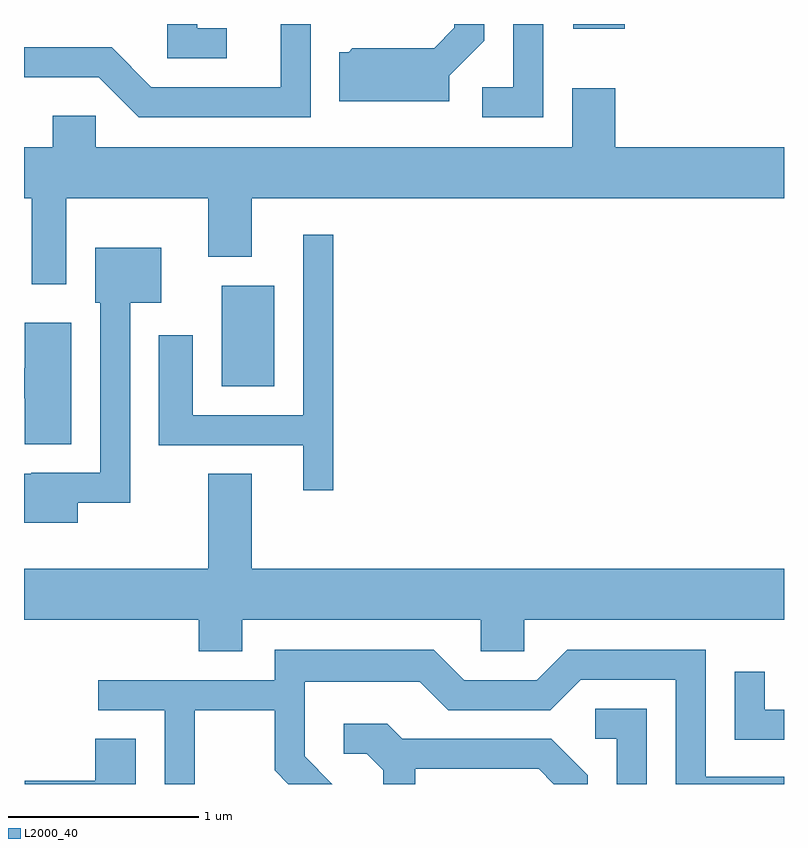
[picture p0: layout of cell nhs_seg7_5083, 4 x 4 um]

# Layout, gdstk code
import gdstk
lib = gdstk.Library(unit=1e-6, precision=1e-09)
def R(c, l, rs):  # rectangles x0, y0, x1, y1
    for r in rs: c.add(gdstk.rectangle(r[:2], r[2:], *l))
def P(c, l, *ps):  # polygons
    for p in ps: c.add(gdstk.Polygon(p, *l))
L2000_40 = (2000, 40)

nhs_seg7_5083 = lib.new_cell('nhs_seg7_5083')
R(nhs_seg7_5083, L2000_40, [(340.651,1804.346,340.929,1804.874), (342.501,1806.226,342.774,1806.252)])
P(nhs_seg7_5083, L2000_40, [(340.678,1806.229),(340.524,1806.229),(340.524,1806.252),(340.366,1806.252),(340.366,1806.071),(340.678,1806.071)],
  [(342.344,1806.252),(342.186,1806.252),(342.186,1805.919),(342.023,1805.919),(342.023,1805.761),(342.344,1805.761)],
  [(341.849,1805.979),(342.034,1806.164),(342.034,1806.252),(341.876,1806.252),(341.876,1806.232),(341.769,1806.124),(341.339,1806.124),(341.319,1806.104),(341.271,1806.104),(341.271,1805.846),(341.849,1805.846)],
  [(341.119,1806.252),(340.961,1806.252),(340.961,1805.919),(340.282,1805.919),(340.072,1806.129),(339.611,1806.129),(339.611,1805.971),(340.004,1805.971),(340.214,1805.761),(341.119,1805.761)],
  [(339.834,1805.336),(340.581,1805.336),(340.581,1805.026),(340.809,1805.026),(340.809,1805.336),(343.611,1805.336),(343.611,1805.604),(342.724,1805.604),(342.724,1805.914),(342.496,1805.914),(342.496,1805.604),(339.989,1805.604),(339.989,1805.769),(339.761,1805.769),(339.761,1805.604),(339.611,1805.604),(339.611,1805.336),(339.651,1805.336),(339.651,1804.881),(339.834,1804.881)],
  [(341.239,1805.143),(341.081,1805.143),(341.081,1804.194),(340.499,1804.194),(340.499,1804.614),(340.321,1804.614),(340.321,1804.036),(341.081,1804.036),(341.081,1803.798),(341.239,1803.798)],
  [(339.894,1803.731),(340.169,1803.731),(340.169,1804.786),(340.334,1804.786),(340.334,1805.074),(339.986,1805.074),(339.986,1804.786),(340.011,1804.786),(340.011,1803.889),(339.65,1803.889),(339.65,1803.884),(339.611,1803.884),(339.611,1803.626),(339.894,1803.626)],
  [(339.859,1804.679),(339.616,1804.679),(339.616,1804.439),(339.611,1804.439),(339.611,1804.281),(339.616,1804.281),(339.616,1804.041),(339.859,1804.041)],
  [(340.759,1803.116),(342.016,1803.116),(342.016,1802.951),(342.244,1802.951),(342.244,1803.116),(343.611,1803.116),(343.611,1803.384),(340.809,1803.384),(340.809,1803.884),(340.581,1803.884),(340.581,1803.384),(339.611,1803.384),(339.611,1803.116),(340.531,1803.116),(340.531,1802.951),(340.759,1802.951)],
  [(340.509,1802.641),(340.931,1802.641),(340.931,1802.324),(341.003,1802.252),(341.234,1802.252),(341.089,1802.397),(341.089,1802.791),(341.694,1802.791),(341.844,1802.641),(342.382,1802.641),(342.542,1802.801),(343.041,1802.801),(343.041,1802.252),(343.611,1802.252),(343.611,1802.289),(343.199,1802.289),(343.199,1802.959),(342.469,1802.959),(342.309,1802.799),(341.927,1802.799),(341.767,1802.959),(340.931,1802.959),(340.931,1802.799),(340.003,1802.799),(340.003,1802.641),(340.351,1802.641),(340.351,1802.252),(340.509,1802.252)],
  [(343.611,1802.644),(343.509,1802.644),(343.509,1802.843),(343.351,1802.843),(343.351,1802.486),(343.611,1802.486)],
  [(342.889,1802.649),(342.618,1802.649),(342.618,1802.491),(342.731,1802.491),(342.731,1802.252),(342.889,1802.252)],
  [(341.669,1802.331),(342.319,1802.331),(342.398,1802.252),(342.579,1802.252),(342.579,1802.297),(342.387,1802.489),(341.602,1802.489),(341.522,1802.569),(341.293,1802.569),(341.293,1802.411),(341.414,1802.411),(341.501,1802.324),(341.501,1802.252),(341.669,1802.252)],
  [(340.199,1802.489),(339.986,1802.489),(339.986,1802.269),(339.616,1802.269),(339.616,1802.252),(340.199,1802.252)])

lib.write_gds('nhs_seg7_5083.gds')
